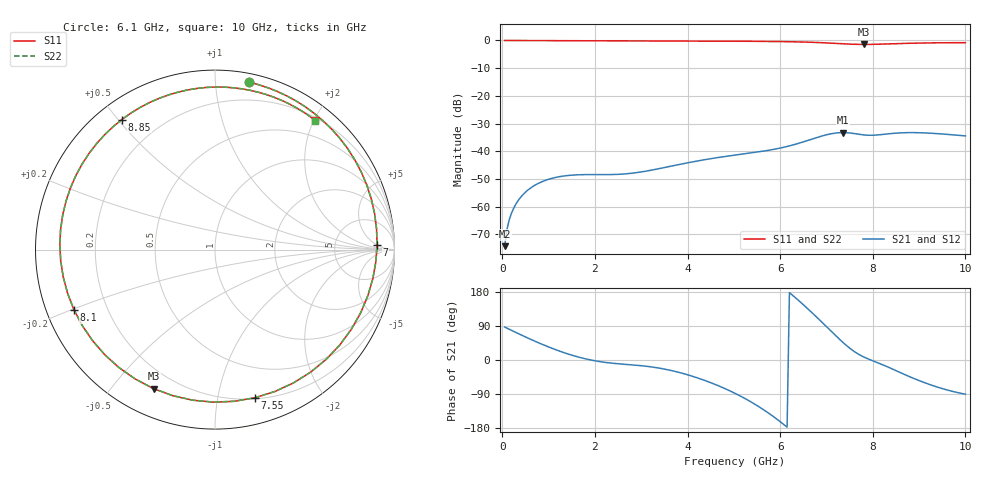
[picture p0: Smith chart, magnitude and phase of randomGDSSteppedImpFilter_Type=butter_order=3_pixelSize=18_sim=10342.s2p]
! freq	dB(S11)	phase(S11)	dB(S12)	phase(S12)
!  dB(S21)	phase(S21)	dB(S22)	phase(S22)
!S-par simulation data
#  GHz  S  DB  R 50
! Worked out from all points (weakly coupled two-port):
!   200 points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, 50 MHz to 10 GHz, reference 50 ohm
!   highest |S21| = -33.24 dB at 7.35 GHz (marker M1); lowest = -74.2 dB at 50 MHz (marker M2)
!   lowest |S11| = -1.4 dB at 7.8 GHz (marker M3), VSWR 12.06, Z = 5.89 - j32.3 ohm
!   |S11| at or under -10 dB: nowhere
!   |S22| runs from -1.4 to 0.0 dB; largest |S21 - S12| = 0
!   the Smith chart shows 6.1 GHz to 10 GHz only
!   S11 on the Smith chart (normalised r, x): 6.1 GHz: 0.06, +1.23; 7 GHz: 18, +5; 7.55 GHz: 0.21, -1.29; 8.1 GHz: 0.08, -0.20; 8.85 GHz: 0.07, +0.51; 10 GHz: 0.24, +2.01
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0.05  -0.00 -3.0  -74.21 87.0  -74.21 87.0  -0.00 -3.0
0.1  -0.01 -6.0  -68.21 84.0  -68.21 84.0  -0.01 -6.0
0.2  -0.02 -11.9  -62.27 78.1  -62.27 78.1  -0.02 -11.9
0.5  -0.04 -29.4  -54.73 60.8  -54.73 60.8  -0.04 -29.4
1.1  -0.08 -62.8  -49.62 29.6  -49.62 29.6  -0.08 -62.7
1.75  -0.11 -95.3  -48.41 4.4  -48.41 4.4  -0.11 -95.3
2.6  -0.14 -132.6  -48.21 -10.9  -48.21 -10.9  -0.14 -132.6
3.4  -0.17 -163.9  -46.20 -21.7  -46.20 -21.7  -0.17 -163.9
4.25  -0.21 163.9  -43.37 -48.7  -43.37 -48.7  -0.21 164.0
5.05  -0.27 131.8  -41.30 -89.5  -41.30 -89.5  -0.27 131.9
5.65  -0.34 103.8  -39.90 -131.9  -39.90 -131.9  -0.34 103.9
6.1  -0.43 78.4  -38.45 -172.2  -38.45 -172.2  -0.43 78.5
6.7  -0.67 32.8  -35.51 123.4  -35.51 123.4  -0.67 33.0
7  -0.88 1.6  -34.03 88.1  -34.03 88.1  -0.88 1.7
7.35  -1.20 -44.5  -33.24 47.0  -33.24 47.0  -1.21 -44.5
7.55  -1.36 -74.9  -33.47 26.7  -33.47 26.7  -1.36 -74.9
7.8  -1.44 -113.8  -34.07 8.3  -34.07 8.3  -1.45 -114.0
8.1  -1.37 -156.9  -34.10 -6.8  -34.10 -6.8  -1.37 -157.2
8.35  -1.24 172.8  -33.66 -19.7  -33.66 -19.7  -1.24 172.5
8.85  -1.00 125.6  -33.24 -46.9  -33.24 -46.9  -1.00 125.3
9.35  -0.86 90.0  -33.56 -69.7  -33.56 -69.7  -0.86 89.7
10  -0.81 52.4  -34.43 -90.1  -34.43 -90.1  -0.81 52.1
